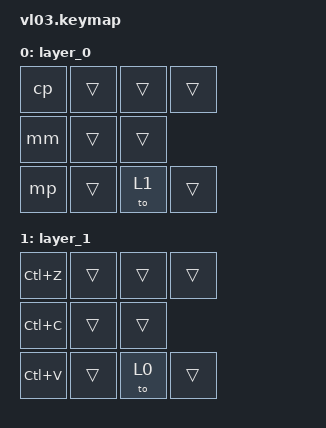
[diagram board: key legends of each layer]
#include <behaviors.dtsi>
#include <dt-bindings/zmk/keys.h>

#define NUMPAD 0
#define FUNC   1

/ {
    combos {
        compatible = "zmk,combos";

        // Encoder switch (position 3) + the "0" key (position 10) toggles the
        // Function layer. Because it is active on both layers, the same chord
        // switches back to the Numpad layer again.

        combo_func_toggle {
            timeout-ms = <50>;
            key-positions = <3 10>;
            bindings = <&tog 0>;
        };
    };

    macros {
        mp: new_macro {
            compatible = "zmk,behavior-macro";
            #binding-cells = <0>;
            bindings = <&kp LC(LS(M))>;
            label = "NEW_MACRO";
        };

        mm: tab2 {
            compatible = "zmk,behavior-macro";
            #binding-cells = <0>;
            bindings = <&kp LC(LS(N))>;
            label = "TAB2";
        };

        cp: tab3 {
            compatible = "zmk,behavior-macro";
            #binding-cells = <0>;
            bindings = <&kp LC(LS(B))>;
            label = "TAB3";
        };
    };

    keymap {
        compatible = "zmk,keymap";

        // ------------------------------------------------------------------
        //  Layer 0 - Numpad
        //   7   8   9   (mute / encoder switch)
        //   4   5   6
        //   1   2   3   0
        //  Encoder rotate = volume down / up
        // ------------------------------------------------------------------
        // ------------------------------------------------------------------
        //  Layer 1 - Function (F13-F21)
        //   F13  F14  F15  (mute / encoder switch)
        //   F16  F17  F18
        //   F19  F20  F21  studio_unlock
        //  Encoder rotate = volume down / up
        //  Tap the "0" key here to unlock ZMK Studio for editing.
        // ------------------------------------------------------------------

        layer_0 {
            bindings = <
&cp  &trans  &trans  &trans
&mm  &trans  &trans
&mp  &trans  &to 1   &trans
            >;
        };

        layer_1 {
            bindings = <
&kp LC(Z)  &trans  &trans  &trans
&kp LC(C)  &trans  &trans
&kp LC(V)  &trans  &to 0   &trans
            >;
        };
    };
};
